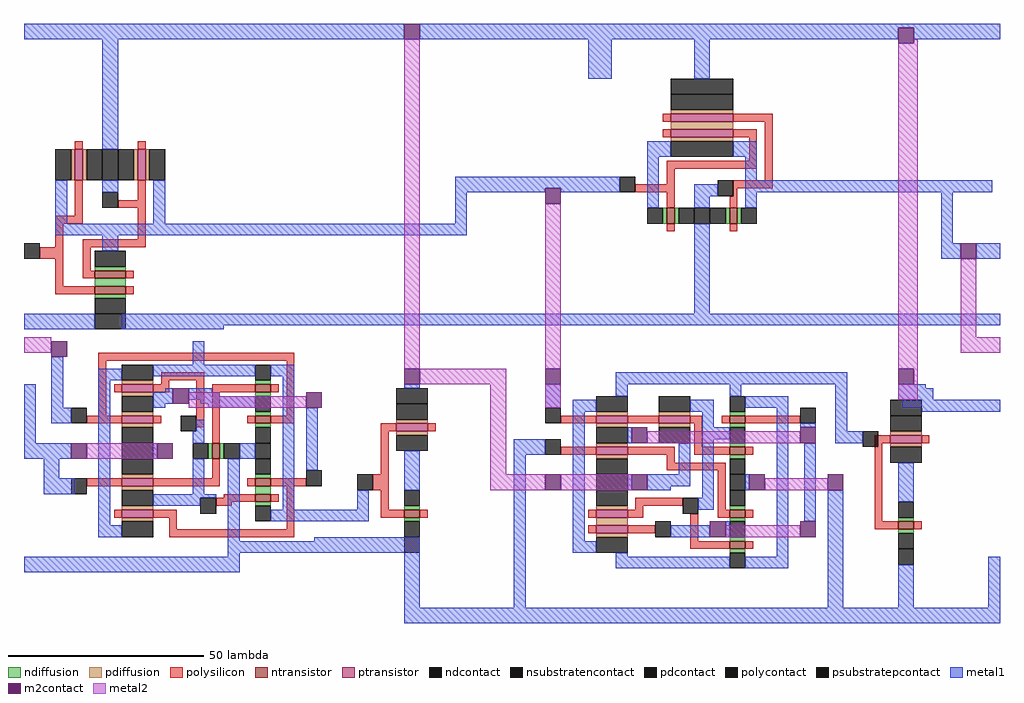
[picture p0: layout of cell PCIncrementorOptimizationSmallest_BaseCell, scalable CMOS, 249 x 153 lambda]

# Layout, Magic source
magic
tech scmos
<< polysilicon >>
rect 176 -48 179 -44
<< metal1 >>
rect 87 67 184 71
rect 188 70 336 71
rect 188 67 310 70
rect 107 39 111 67
rect 231 57 237 67
rect 258 57 262 67
rect 314 67 336 70
rect 197 29 239 32
rect 197 28 220 29
rect 197 20 200 28
rect 224 28 239 29
rect 288 28 334 31
rect 131 17 200 20
rect 258 -3 262 20
rect 321 15 324 28
rect 321 11 326 15
rect 330 11 336 15
rect 87 -7 105 -3
rect 112 -6 336 -3
rect 112 -7 138 -6
rect 87 -36 90 -21
rect 94 -27 97 -14
rect 184 -22 188 -21
rect 269 -21 297 -18
rect 220 -27 224 -21
rect 94 -31 99 -27
rect 294 -33 297 -21
rect 310 -22 317 -21
rect 310 -25 319 -22
rect 311 -27 336 -25
rect 316 -28 336 -27
rect 87 -40 99 -36
rect 212 -39 220 -35
rect 294 -36 301 -33
rect 92 -45 96 -40
rect 92 -49 100 -45
rect 172 -53 175 -48
rect 156 -56 175 -53
rect 139 -65 142 -63
rect 161 -64 188 -60
rect 87 -69 142 -65
rect 184 -78 188 -64
rect 212 -78 215 -39
rect 292 -78 296 -48
rect 310 -78 314 -67
rect 333 -78 336 -65
rect 184 -82 336 -78
<< metal2 >>
rect 87 -13 94 -9
rect 184 -17 188 67
rect 314 66 315 67
rect 220 -17 224 25
rect 188 -21 210 -17
rect 206 -44 210 -21
rect 220 -27 224 -21
rect 310 -17 315 66
rect 326 -9 330 11
rect 326 -13 336 -9
rect 314 -21 315 -17
rect 310 -25 315 -21
rect 206 -48 220 -44
<< polycontact >>
rect 301 -37 305 -33
rect 172 -48 176 -44
<< m2contact >>
rect 184 67 188 71
rect 310 66 314 70
rect 220 25 224 29
rect 326 11 330 15
rect 94 -14 98 -10
rect 184 -21 188 -17
rect 220 -21 224 -17
rect 310 -21 314 -17
use nand_p8n8  nand_p8n8_0
transform 1 0 110 0 1 24
box -23 -31 21 17
use nor_p16n4  nor_p16n4_0
transform 1 0 250 0 1 23
box -11 -5 38 34
use trickyxor2  trickyxor2_0
transform 1 0 119 0 1 -53
box -20 -11 44 43
use inv_p8n4  inv_p8n4_1
transform -1 0 186 0 1 -38
box -6 -26 8 16
use trickyxnor2  trickyxnor2_0
transform 1 0 220 0 1 -72
box 0 4 76 54
use inv_p8n4  inv_p8n4_2
transform -1 0 312 0 1 -41
box -6 -26 8 16
<< end >>

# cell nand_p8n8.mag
magic
tech scmos
<< polysilicon >>
rect -10 15 -8 17
rect 6 15 8 17
rect -10 -2 -8 7
rect 6 2 8 7
rect 1 0 8 2
rect -15 -4 -8 -2
rect -15 -10 -13 -4
rect 6 -8 8 0
rect -19 -13 -13 -10
rect -15 -20 -13 -13
rect -8 -10 8 -8
rect -8 -16 -6 -10
rect -8 -18 -5 -16
rect 3 -18 5 -16
rect -15 -22 -5 -20
rect 3 -22 5 -20
<< ndiffusion >>
rect -5 -16 3 -15
rect -5 -20 3 -18
rect -5 -23 3 -22
<< pdiffusion >>
rect -11 7 -10 15
rect -8 7 -7 15
rect 5 7 6 15
rect 8 7 9 15
<< metal1 >>
rect -15 -4 -12 7
rect -3 4 1 7
rect 10 -4 13 7
rect -15 -7 21 -4
rect -3 -11 1 -7
<< ntransistor >>
rect -5 -18 3 -16
rect -5 -22 3 -20
<< ptransistor >>
rect -10 7 -8 15
rect 6 7 8 15
<< polycontact >>
rect -3 0 1 4
rect -23 -13 -19 -9
<< ndcontact >>
rect -5 -15 3 -11
rect -5 -27 3 -23
<< pdcontact >>
rect -15 7 -11 15
rect -7 7 -3 15
rect 1 7 5 15
rect 9 7 13 15
<< psubstratepcontact >>
rect -5 -31 3 -27
<< nsubstratencontact >>
rect -3 7 1 15
<< labels >>
rlabel metal1 20 -6 20 -6 7 cout
rlabel polycontact -21 -11 -21 -11 3 cin
<< end >>

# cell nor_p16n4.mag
magic
tech scmos
<< polysilicon >>
rect 0 23 2 25
rect 18 23 28 25
rect 0 19 2 21
rect 18 19 24 21
rect 22 13 24 19
rect 1 11 24 13
rect 1 7 3 11
rect 26 8 28 23
rect -7 5 3 7
rect 1 1 3 5
rect 18 6 28 8
rect 18 4 19 6
rect 17 1 19 4
rect 1 -5 3 -3
rect 17 -5 19 -3
<< ndiffusion >>
rect 0 -3 1 1
rect 3 -3 4 1
rect 16 -3 17 1
rect 19 -3 20 1
<< pdiffusion >>
rect 2 25 18 26
rect 2 21 18 23
rect 2 18 18 19
<< metal1 >>
rect -4 14 2 18
rect 18 14 24 18
rect -4 1 -1 14
rect 21 8 24 14
rect 8 4 14 7
rect 21 5 38 8
rect 8 1 12 4
rect 21 1 24 5
<< ntransistor >>
rect 1 -3 3 1
rect 17 -3 19 1
<< ptransistor >>
rect 2 23 18 25
rect 2 19 18 21
<< polycontact >>
rect -11 5 -7 9
rect 14 4 18 8
<< ndcontact >>
rect -4 -3 0 1
rect 4 -3 8 1
rect 12 -3 16 1
rect 20 -3 24 1
<< pdcontact >>
rect 2 26 18 30
rect 2 14 18 18
<< psubstratepcontact >>
rect 8 -3 12 1
<< nsubstratencontact >>
rect 2 30 18 34
<< labels >>
rlabel polycontact -9 7 -9 7 3 cin
rlabel metal1 36 6 36 6 7 cout
<< end >>

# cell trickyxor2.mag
magic
tech scmos
<< polysilicon >>
rect -13 38 37 40
rect -13 24 -11 38
rect 3 33 14 35
rect 3 32 5 33
rect -9 30 -7 32
rect 1 30 5 32
rect -16 22 -7 24
rect 1 22 3 24
rect 12 21 14 33
rect 16 30 27 32
rect 31 30 33 32
rect 16 17 18 30
rect 35 24 37 38
rect 25 22 27 24
rect 31 22 37 24
rect 16 8 18 13
rect -16 6 -7 8
rect 1 6 18 8
rect 25 6 27 8
rect 31 6 40 8
rect 19 3 27 4
rect -9 -2 -7 0
rect 1 -2 7 0
rect 17 2 27 3
rect 31 2 33 4
rect 17 1 21 2
rect 5 -5 7 -2
rect 35 -5 37 6
rect 5 -7 37 -5
<< ndiffusion >>
rect 27 32 31 33
rect 27 29 31 30
rect 27 24 31 25
rect 27 21 31 22
rect 15 13 16 17
rect 18 13 19 17
rect 27 8 31 9
rect 27 4 31 6
rect 27 1 31 2
<< pdiffusion >>
rect -7 32 1 33
rect -7 29 1 30
rect -7 24 1 25
rect -7 21 1 22
rect -7 8 1 9
rect -7 5 1 6
rect -7 0 1 1
rect -7 -3 1 -2
<< metal1 >>
rect 11 37 14 43
rect -13 33 -7 36
rect 1 34 27 37
rect 31 34 37 37
rect -13 -4 -10 33
rect 4 30 6 31
rect 1 27 6 30
rect 10 30 16 31
rect 10 29 18 30
rect 10 28 27 29
rect 13 27 27 28
rect 1 26 4 27
rect 15 26 27 27
rect 12 20 14 23
rect 11 17 14 20
rect 1 13 2 17
rect 23 13 27 17
rect 11 4 14 13
rect 1 3 17 4
rect 1 1 13 3
rect -13 -7 -7 -4
rect 20 -8 23 13
rect 34 0 37 34
rect 40 10 43 26
rect 31 -3 37 0
rect 20 -11 43 -8
<< metal2 >>
rect 10 29 18 30
rect 10 26 40 29
rect -16 13 2 17
<< ntransistor >>
rect 27 30 31 32
rect 27 22 31 24
rect 16 13 18 17
rect 27 6 31 8
rect 27 2 31 4
<< ptransistor >>
rect -7 30 1 32
rect -7 22 1 24
rect -7 6 1 8
rect -7 -2 1 0
<< polycontact >>
rect -20 22 -16 26
rect 8 20 12 24
rect -20 4 -16 8
rect 40 6 44 10
rect 13 -1 17 3
<< ndcontact >>
rect 27 33 31 37
rect 27 25 31 29
rect 27 17 31 21
rect 11 13 15 17
rect 19 13 23 17
rect 27 9 31 13
rect 27 -3 31 1
<< pdcontact >>
rect -7 33 1 37
rect -7 25 1 29
rect -7 17 1 21
rect -7 9 1 13
rect -7 1 1 5
rect -7 -7 1 -3
<< m2contact >>
rect -20 13 -16 17
rect 6 27 10 31
rect 2 13 6 17
rect 40 26 44 30
<< psubstratepcontact >>
rect 27 13 31 17
<< nsubstratencontact >>
rect -7 13 1 17
<< labels >>
rlabel polysilicon -8 23 -8 23 3 b
rlabel polysilicon -8 31 -8 31 3 a_
rlabel polysilicon -8 7 -8 7 3 a
rlabel polysilicon -8 -1 -8 -1 3 b_
rlabel polysilicon 26 3 26 3 1 a_
rlabel metal1 12 42 12 42 5 xor
rlabel metal1 41 -10 41 -10 8 GND
rlabel m2contact -18 15 -18 15 3 Vdd
rlabel polycontact -18 6 -18 6 3 a
rlabel polycontact -18 24 -18 24 3 b
<< end >>

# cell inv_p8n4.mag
magic
tech scmos
<< polysilicon >>
rect -6 5 -4 7
rect 4 5 8 7
rect 6 -15 8 5
rect -4 -17 -2 -15
rect 2 -17 8 -15
<< ndiffusion >>
rect -2 -15 2 -14
rect -2 -18 2 -17
<< pdiffusion >>
rect -4 7 4 8
rect -4 4 4 5
<< metal1 >>
rect -2 -10 2 0
<< ntransistor >>
rect -2 -17 2 -15
<< ptransistor >>
rect -4 5 4 7
<< ndcontact >>
rect -2 -14 2 -10
rect -2 -22 2 -18
<< pdcontact >>
rect -4 8 4 12
rect -4 0 4 4
<< psubstratepcontact >>
rect -2 -26 2 -22
<< nsubstratencontact >>
rect -4 12 4 16
<< end >>

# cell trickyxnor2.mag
magic
tech scmos
<< polysilicon >>
rect 4 41 13 43
rect 21 41 29 43
rect 37 41 40 43
rect 45 41 47 43
rect 51 41 65 43
rect 38 35 40 41
rect 4 33 13 35
rect 21 33 33 35
rect 38 33 47 35
rect 51 33 53 35
rect 31 31 33 33
rect 31 29 46 31
rect 23 20 35 22
rect 23 19 25 20
rect 11 17 13 19
rect 21 17 25 19
rect 11 13 13 15
rect 21 13 28 15
rect 37 11 39 18
rect 44 19 46 29
rect 44 17 47 19
rect 51 17 53 19
rect 37 9 47 11
rect 51 9 53 11
<< ndiffusion >>
rect 47 43 51 44
rect 47 40 51 41
rect 47 35 51 36
rect 47 32 51 33
rect 47 19 51 20
rect 47 16 51 17
rect 47 11 51 12
rect 47 8 51 9
<< pdiffusion >>
rect 13 43 21 44
rect 29 43 37 44
rect 13 40 21 41
rect 29 40 37 41
rect 13 35 21 36
rect 13 32 21 33
rect 13 19 21 20
rect 13 15 21 17
rect 13 12 21 13
<< metal1 >>
rect 18 51 50 54
rect 18 48 21 51
rect 47 48 50 51
rect 7 44 13 47
rect 37 44 43 47
rect 51 45 62 48
rect 7 11 10 44
rect 40 40 43 44
rect 21 36 22 40
rect 34 28 37 36
rect 21 24 22 28
rect 26 25 37 28
rect 40 37 47 40
rect 26 24 32 25
rect 40 22 43 37
rect 39 19 43 22
rect 51 24 52 28
rect 32 12 42 15
rect 46 12 47 16
rect 7 8 13 11
rect 18 7 21 8
rect 18 4 47 7
rect 59 7 62 45
rect 65 40 69 41
rect 66 16 69 36
rect 51 4 62 7
<< metal2 >>
rect 26 36 65 39
rect 4 24 22 28
rect 56 24 72 27
rect 46 12 65 15
<< ntransistor >>
rect 47 41 51 43
rect 47 33 51 35
rect 47 17 51 19
rect 47 9 51 11
<< ptransistor >>
rect 13 41 21 43
rect 29 41 37 43
rect 13 33 21 35
rect 13 17 21 19
rect 13 13 21 15
<< polycontact >>
rect 0 41 4 45
rect 65 41 69 45
rect 0 33 4 37
rect 35 18 39 22
rect 28 12 32 16
<< ndcontact >>
rect 47 44 51 48
rect 47 36 51 40
rect 47 28 51 32
rect 47 20 51 24
rect 47 12 51 16
rect 47 4 51 8
<< pdcontact >>
rect 13 44 21 48
rect 29 44 37 48
rect 13 36 21 40
rect 29 36 37 40
rect 13 28 21 32
rect 13 20 21 24
rect 13 8 21 12
<< m2contact >>
rect 0 24 4 28
rect 22 36 26 40
rect 22 24 26 28
rect 52 24 56 28
rect 42 12 46 16
rect 65 36 69 40
rect 72 24 76 28
rect 65 12 69 16
<< psubstratepcontact >>
rect 47 24 51 28
<< nsubstratencontact >>
rect 13 24 21 28
<< labels >>
rlabel polysilicon 12 34 12 34 3 b
rlabel polysilicon 12 42 12 42 3 a
rlabel metal1 41 40 41 40 1 a_
rlabel metal1 68 25 68 25 7 b_
rlabel m2contact 74 26 74 26 7 GND
rlabel m2contact 2 26 2 26 3 Vdd
rlabel polycontact 2 43 2 43 4 a
rlabel polycontact 2 35 2 35 3 b
rlabel metal1 37 53 37 53 5 xnor
<< end >>
